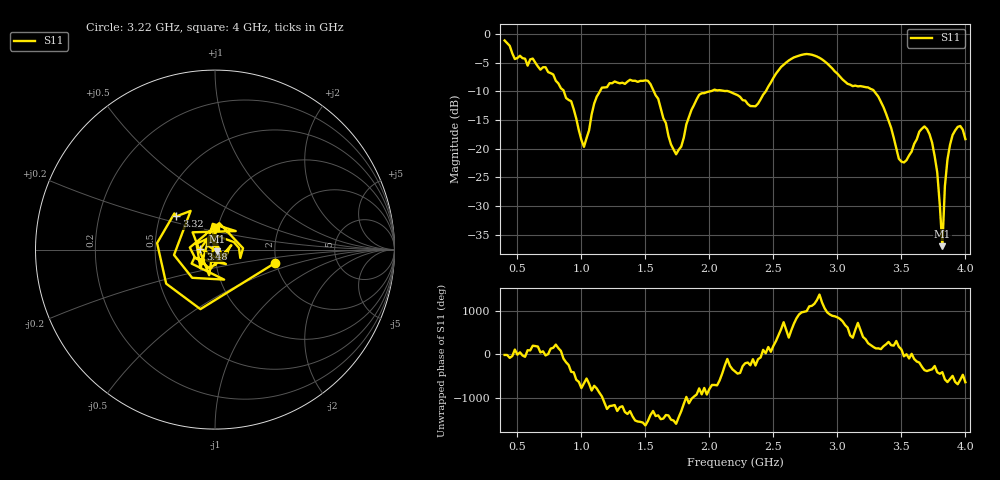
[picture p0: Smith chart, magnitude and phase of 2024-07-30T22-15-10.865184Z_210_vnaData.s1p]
!Created with skrf (http://scikit-rf.org).
# Hz S RI R 50.0
!freq ReS11 ImS11
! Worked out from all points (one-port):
!   181 points, 400 MHz to 4 GHz, reference 50 ohm
!   lowest |S11| = -37.0 dB at 3.82 GHz (marker M1), VSWR 1.03, Z = 51 - j1 ohm
!   |S11| at or under -10 dB: 1.566 GHz to 2.006 GHz (440.6 MHz wide, 24.7 % of centre); 2.148 GHz to 2.441 GHz (292.3 MHz wide, 12.7 % of centre); 3.288 GHz to end of sweep (the widest 3 of 4)
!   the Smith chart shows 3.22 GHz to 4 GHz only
!   S11 on the Smith chart (normalised r, x): 3.22 GHz: 1.97, -0.33; 3.32 GHz: 0.61, +0.24; 3.48 GHz: 0.85, +0.01; 4 GHz: 0.98, +0.24
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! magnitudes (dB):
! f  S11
! 400 MHz  -1.2
! 860 MHz  -9.8
! 920 MHz  -11.7
! 1.02 GHz  -19.7
! 1.12 GHz  -10.9
! 1.3 GHz  -8.6
! 1.52 GHz  -8.2
! 1.6 GHz  -11.3
! 1.7 GHz  -19.2
! 1.76 GHz  -20.2
! 1.92 GHz  -10.6
! 2.2 GHz  -10.5
! 2.36 GHz  -12.6
! 2.66 GHz  -4.1
! 2.84 GHz  -3.9
! 3.1 GHz  -8.8
! 3.22 GHz  -9.3
! 3.32 GHz  -10.9
! 3.48 GHz  -21.8
! 3.56 GHz  -21.2
! 3.66 GHz  -16.5
! 3.72 GHz  -17.5
! 3.78 GHz  -24.1
! 3.82 GHz  -37.0
! 3.84 GHz  -26.5
! 3.88 GHz  -19.3
! 3.94 GHz  -16.2
! 4 GHz  -18.3
